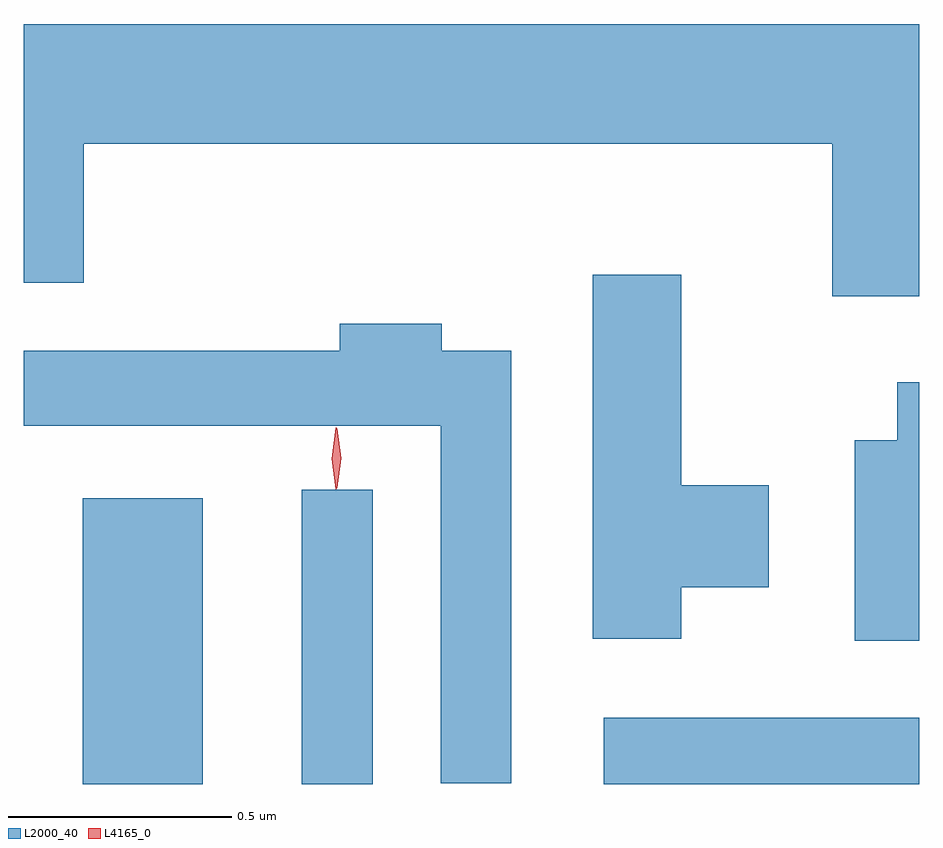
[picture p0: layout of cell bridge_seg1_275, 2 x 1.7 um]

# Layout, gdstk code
import gdstk
lib = gdstk.Library(unit=1e-6, precision=1e-09)
def R(c, l, rs):  # rectangles x0, y0, x1, y1
    for r in rs: c.add(gdstk.rectangle(r[:2], r[2:], *l))
def P(c, l, *ps):  # polygons
    for p in ps: c.add(gdstk.Polygon(p, *l))
L2000_40 = (2000, 40)
L4165_0 = (4165, 0)

bridge_seg1_275 = lib.new_cell('bridge_seg1_275')
R(bridge_seg1_275, L2000_40, [(906.796,893.706,907.064,894.344), (907.286,893.706,907.444,894.363), (907.961,893.706,908.665,893.854)])
P(bridge_seg1_275, L2000_40, [(908.665,895.404),(906.665,895.404),(906.665,894.826),(906.799,894.826),(906.799,895.136),(908.471,895.136),(908.471,894.796),(908.665,894.796)],
  [(908.134,894.146),(908.329,894.146),(908.329,894.374),(908.134,894.374),(908.134,894.844),(907.936,894.844),(907.936,894.031),(908.134,894.031)],
  [(907.754,894.674),(907.599,894.674),(907.599,894.734),(907.371,894.734),(907.371,894.674),(906.665,894.674),(906.665,894.506),(907.596,894.506),(907.596,893.708),(907.754,893.708)],
  [(908.665,894.604),(908.616,894.604),(908.616,894.474),(908.521,894.474),(908.521,894.026),(908.665,894.026)])
P(bridge_seg1_275, L4165_0, [(907.364,894.367),(907.364,894.368),(907.354,894.434),(907.364,894.5),(907.364,894.501),(907.365,894.5),(907.374,894.434),(907.365,894.368)],
  [(907.362,894.364),(907.353,894.433),(907.362,894.502),(907.363,894.503),(907.363,894.502),(907.373,894.433),(907.363,894.364),(907.363,894.364)])

lib.write_gds('bridge_seg1_275.gds')
